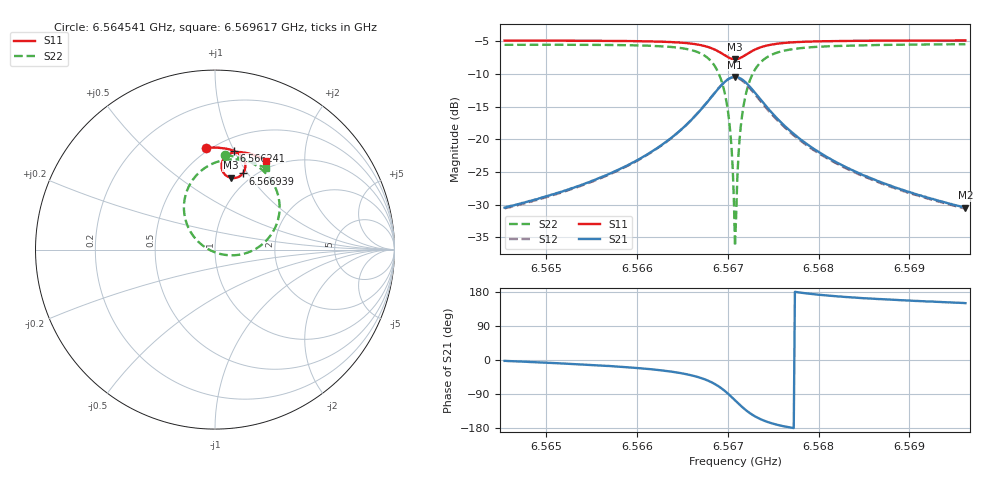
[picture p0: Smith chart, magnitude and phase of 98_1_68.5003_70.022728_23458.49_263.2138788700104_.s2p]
#  HZ  S  RI  R  50.00
! Rohde & Schwarz Vector Network Analyzer
! Rohde-Schwarz,ZNB20-2Port,1311601062101988,3.16
! Created: UTC 3/20/2024, 4:52:56 PM
! freq[Hz]  re:S11  im:S11  re:S21  im:S21  re:S12  im:S12  re:S22  im:S22
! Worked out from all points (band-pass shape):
!   401 points, 6.564541 GHz to 6.569617 GHz, reference 50 ohm
!   highest |S21| = -10.44 dB at 6.567079 GHz (marker M1); lowest = -30.5 dB at 6.569617 GHz (marker M2)
!   |S21| within 3 dB of the highest: 6.566824 GHz to 6.567333 GHz (508.1 kHz wide, 0.00774 % of centre)
!   lowest |S11| = -7.8 dB at 6.567079 GHz (marker M3), VSWR 2.39, Z = 41.9 + j40.3 ohm
!   |S11| at or under -10 dB: nowhere
!   |S22| runs from -36.4 to -5.4 dB; largest |S21 - S12| = 0.015
!   S11 on the Smith chart (normalised r, x): 6.564541 GHz: 0.48, +0.80; 6.566241 GHz: 0.62, +1.00; 6.566939 GHz: 0.89, +0.95; 6.569617 GHz: 0.89, +1.31
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6.5645412e9  -0.0477 0.5674  0.03 -0.00122  0.0295 -0.00185  0.0548 0.5261
6.5653913e9  0.0229 0.5676  0.044 -0.00926  0.0432 -0.00974  0.1386 0.5102
6.5662414e9  0.1054 0.5495  0.0783 -0.0393  0.077 -0.0401  0.2597 0.4468
6.5665333e9  0.1408 0.5276  0.1015 -0.0765  0.1 -0.0782  0.3224 0.3731
6.5667363e9  0.1647 0.4927  0.115 -0.1379  0.1122 -0.1408  0.3593 0.2546
6.5668505e9  0.1689 0.4579  0.1033 -0.1988  0.0979 -0.2029  0.3419 0.1382
6.5669393e9  0.155 0.4243  0.0619 -0.2563  0.0526 -0.2598  0.2655 0.031
6.5669774e9  0.1417 0.4113  0.0305 -0.2777  0.0192 -0.2795  0.2068 -0.0067
6.5670154e9  0.1235 0.4019  -0.00879 -0.2916  -0.022 -0.2908  0.1337 -0.0289
6.5670408e9  0.1095 0.3989  -0.0384 -0.2947  -0.0521 -0.2919  0.0803 -0.0318
6.5670662e9  0.0949 0.399  -0.0691 -0.2922  -0.0824 -0.2868  0.0258 -0.0235
6.5670789e9  0.0876 0.4  -0.0841 -0.2886  -0.0971 -0.2819  -0.000375 -0.0152
6.5670916e9  0.0805 0.4022  -0.0985 -0.2835  -0.1113 -0.2756  -0.0256 -0.0042
6.5671043e9  0.0736 0.405  -0.1125 -0.277  -0.1246 -0.2682  -0.0493 0.00924
6.5671296e9  0.0613 0.4127  -0.1377 -0.2603  -0.1482 -0.2497  -0.0914 0.0423
6.5671677e9  0.0472 0.428  -0.1672 -0.2292  -0.1745 -0.2167  -0.1378 0.1015
6.5672185e9  0.0375 0.4513  -0.1894 -0.183  -0.1927 -0.1704  -0.1686 0.1856
6.5672819e9  0.0371 0.4783  -0.1953 -0.1303  -0.1948 -0.1193  -0.1694 0.278
6.5675103e9  0.0749 0.5299  -0.1498 -0.0294  -0.1463 -0.0248  -0.0667 0.4475
6.567929e9  0.1377 0.5436  -0.0857 0.00892  -0.0836 0.0103  0.0752 0.5022
6.5687791e9  0.2201 0.5251  -0.0417 0.0157  -0.0407 0.016  0.2071 0.4863
6.5696166e9  0.2833 0.4958  -0.026 0.015  -0.0254 0.0149  0.2843 0.4525
